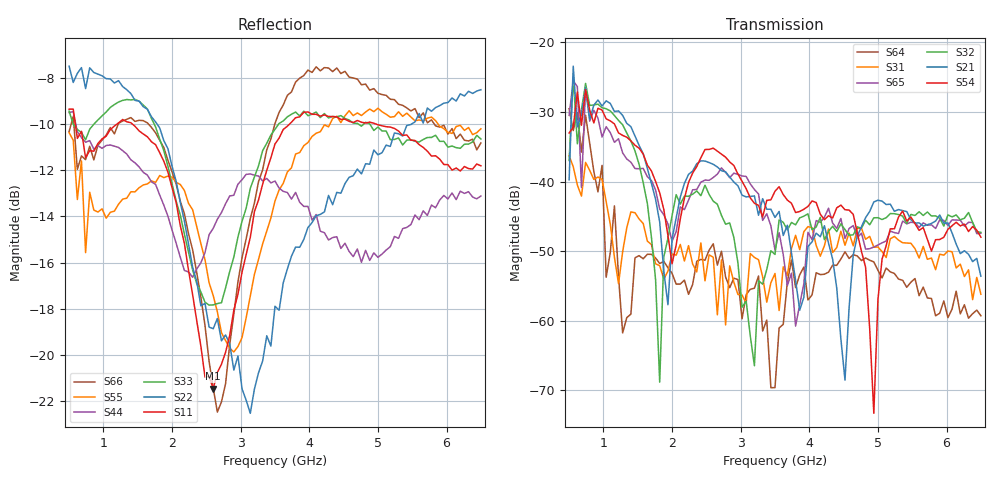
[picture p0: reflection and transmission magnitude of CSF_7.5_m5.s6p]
!Keysight Technologies,M9804A,MY58100912,A.14.10.03
!Date: Thursday, April 27, 2023 10:28:33
!Correction: S11(C  6-Port  )
!S12(C  6-Port  )
!S13(C  6-Port  )
!S14(C  6-Port  )
!S15(C  6-Port  )
!S16(C  6-Port  )
!S21(C  6-Port  )
!S22(C  6-Port  )
!S23(C  6-Port  )
!S24(C  6-Port  )
!S25(C  6-Port  )
!S26(C  6-Port  )
!S31(C  6-Port  )
!S32(C  6-Port  )
!S33(C  6-Port  )
!S34(C  6-Port  )
!S35(C  6-Port  )
!S36(C  6-Port  )
!S41(C  6-Port  )
!S42(C  6-Port  )
!S43(C  6-Port  )
!S44(C  6-Port  )
!S45(C  6-Port  )
!S46(C  6-Port  )
!S51(C  6-Port  )
!S52(C  6-Port  )
!S53(C  6-Port  )
!S54(C  6-Port  )
!S55(C  6-Port  )
!S56(C  6-Port  )
!S61(C  6-Port  )
!S62(C  6-Port  )
!S63(C  6-Port  )
!S64(C  6-Port  )
!S65(C  6-Port  )
!S66(C  6-Port  )
!S6P File: Measurement: :
# Hz S  RI  R 50
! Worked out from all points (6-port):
!   101 points, 500 MHz to 6.5 GHz, reference 50 ohm
!   strongest paths, dB at 500 MHz, 2 GHz, 3.5 GHz, 5 GHz, 6.5 GHz:
!     S54: -33.0, -51.8, -41.4, -57.0, -48.0
!     S21: -39.7, -48.3, -45.2, -42.7, -53.6
!     S32: -37.0, -44.9, -50.5, -45.2, -47.3
!     S65: -30.5, -48.6, -49.8, -49.1, -47.4
!     S31: -36.3, -50.4, -53.2, -49.4, -56.2
!     S64: -29.5, -53.2, -69.6, -52.7, -59.3
!   lowest |S11| = -21.5 dB at 2.6 GHz (marker M1), VSWR 1.18, Z = 42.5 + j2.17 ohm
!   |S11| at or under -10 dB: 590.5 MHz to 1.199 GHz (608 MHz wide, 68 % of centre); 1.422 GHz to 3.713 GHz (2.291 GHz wide, 89.2 % of centre); 4.971 GHz to end of sweep
